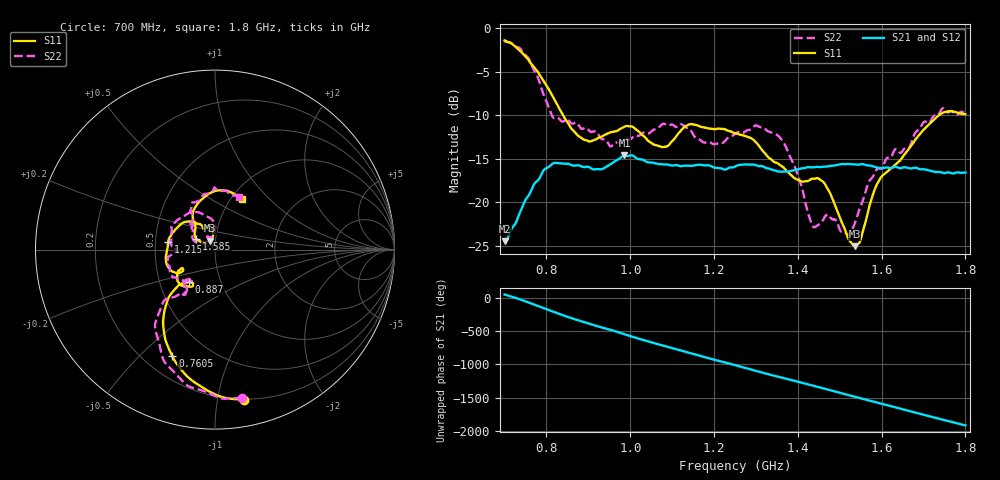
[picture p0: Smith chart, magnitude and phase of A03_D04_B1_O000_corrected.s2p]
! Created with skrf 1.9.0 (http://scikit-rf.org).
# Hz S RI R 50.0
!freq ReS11 ImS11 ReS21 ImS21 ReS12 ImS12 ReS22 ImS22
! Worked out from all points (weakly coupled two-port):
!   1601 points, 700 MHz to 1.8 GHz, reference 50 ohm
!   highest |S21| = -14.60 dB at 986 MHz (marker M1); lowest = -24.5 dB at 701.4 MHz (marker M2)
!   lowest |S11| = -25.0 dB at 1.535 GHz (marker M3), VSWR 1.12, Z = 47.2 + j4.69 ohm
!   |S11| at or under -10 dB: 839.5 MHz to 1.736 GHz (896.9 MHz wide, 69.6 % of centre)
!   |S22| runs from -23.8 to -1.5 dB; largest |S21 - S12| = 0.0035
!   S11 on the Smith chart (normalised r, x): 700 MHz: 0.20, -1.19; 760.5 MHz: 0.31, -0.63; 887 MHz: 0.71, -0.27; 1.215 GHz: 0.58, +0.06; 1.585 GHz: 0.80, +0.10; 1.8 GHz: 1.12, +0.71
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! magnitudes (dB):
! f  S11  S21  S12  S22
! 700 MHz  -1.4  -24.5  -24.2  -1.5
! 701.4 MHz  -1.4  -24.5  -24.1  -1.5
! 760.5 MHz  -3.9  -19.0  -18.8  -3.7
! 814.8 MHz  -7.8  -15.5  -15.6  -10.2
! 883.6 MHz  -12.6  -15.9  -15.8  -11.6
! 887 MHz  -12.7  -15.9  -15.8  -11.5
! 986 MHz  -11.3  -14.6  -14.7  -12.7
! 1.067 GHz  -13.5  -15.6  -15.5  -11.4
! 1.141 GHz  -11.0  -15.8  -15.8  -11.6
! 1.215 GHz  -11.5  -16.1  -16.1  -13.2
! 1.25 GHz  -12.1  -15.9  -15.8  -12.1
! 1.358 GHz  -15.7  -16.5  -16.4  -12.6
! 1.395 GHz  -17.3  -16.3  -16.3  -16.2
! 1.434 GHz  -17.3  -16.0  -15.9  -22.6
! 1.466 GHz  -18.0  -15.9  -15.9  -21.6
! 1.519 GHz  -24.0  -15.6  -15.6  -23.7
! 1.535 GHz  -25.0  -15.6  -15.7  -22.5
! 1.55 GHz  -24.3  -15.6  -15.6  -20.5
! 1.585 GHz  -18.3  -16.0  -16.0  -16.4
! 1.617 GHz  -16.3  -16.0  -16.0  -14.9
! 1.737 GHz  -10.0  -16.5  -16.6  -9.8
! 1.8 GHz  -9.9  -16.6  -16.6  -9.8
